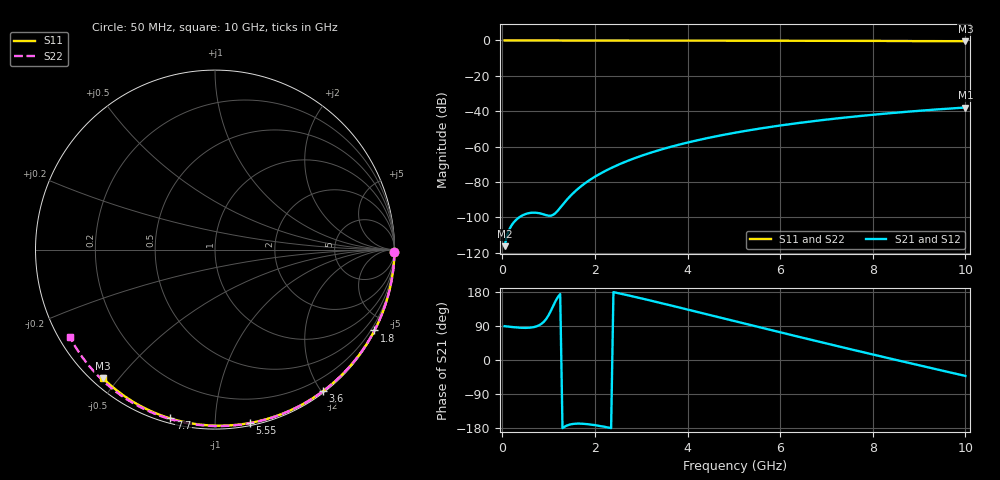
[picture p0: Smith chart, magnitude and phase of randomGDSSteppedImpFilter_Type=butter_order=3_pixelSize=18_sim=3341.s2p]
! freq	dB(S11)	phase(S11)	dB(S12)	phase(S12)
!  dB(S21)	phase(S21)	dB(S22)	phase(S22)
!S-par simulation data
#  GHz  S  DB  R 50
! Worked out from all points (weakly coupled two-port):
!   200 points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, 50 MHz to 10 GHz, reference 50 ohm
!   highest |S21| = -37.92 dB at 10 GHz (marker M1); lowest = -116.3 dB at 50 MHz (marker M2)
!   lowest |S11| = -0.4 dB at 10 GHz (marker M3), VSWR 39.06, Z = 1.54 - j22.7 ohm
!   |S11| at or under -10 dB: nowhere
!   |S22| runs from -0.5 to 0.0 dB; largest |S21 - S12| = 0
!   S11 on the Smith chart (normalised r, x): 50 MHz: open; 1.8 GHz: 0.04, -4.18; 3.6 GHz: 0.02, -2.02; 5.55 GHz: 0.02, -1.22; 7.7 GHz: 0.02, -0.77; 10 GHz: 0.03, -0.45
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0.05  -0.00 -0.8  -116.33 89.3  -116.33 89.3  -0.00 -0.9
0.45  -0.01 -6.8  -98.72 84.8  -98.72 84.8  -0.01 -7.8
0.9  -0.02 -13.6  -98.42 101.3  -98.42 101.3  -0.02 -15.4
1.3  -0.02 -19.5  -92.99 -179.9  -92.99 -179.9  -0.03 -22.2
1.75  -0.03 -26.1  -81.47 -168.3  -81.47 -168.3  -0.04 -29.7
1.8  -0.03 -26.9  -80.50 -168.8  -80.50 -168.8  -0.04 -30.6
1.85  -0.04 -27.6  -79.59 -169.4  -79.59 -169.4  -0.04 -31.4
2.05  -0.04 -30.5  -76.28 -172.9  -76.28 -172.9  -0.04 -34.7
2.2  -0.04 -32.7  -74.12 -176.1  -74.12 -176.1  -0.05 -37.2
2.55  -0.05 -37.8  -69.78 175.2  -69.78 175.2  -0.05 -42.9
2.95  -0.06 -43.5  -65.71 164.1  -65.71 164.1  -0.06 -49.4
3.4  -0.07 -49.8  -61.91 151.1  -61.91 151.1  -0.07 -56.5
3.6  -0.07 -52.6  -60.43 145.1  -60.43 145.1  -0.08 -59.6
4.3  -0.09 -62.1  -55.94 124.2  -55.94 124.2  -0.10 -70.4
5.05  -0.11 -72.1  -52.06 101.6  -52.06 101.6  -0.12 -81.5
5.55  -0.13 -78.5  -49.86 86.6  -49.86 86.6  -0.14 -88.8
6.1  -0.15 -85.5  -47.73 70.2  -47.73 70.2  -0.17 -96.5
6.7  -0.18 -92.9  -45.68 52.4  -45.68 52.4  -0.20 -104.9
7.7  -0.24 -104.9  -42.79 23.2  -42.79 23.2  -0.27 -118.4
8.35  -0.29 -112.4  -41.19 4.5  -41.19 4.5  -0.32 -127.0
9.2  -0.36 -122.1  -39.37 -19.6  -39.37 -19.6  -0.41 -138.3
10  -0.44 -131.2  -37.92 -42.0  -37.92 -42.0  -0.50 -148.9
